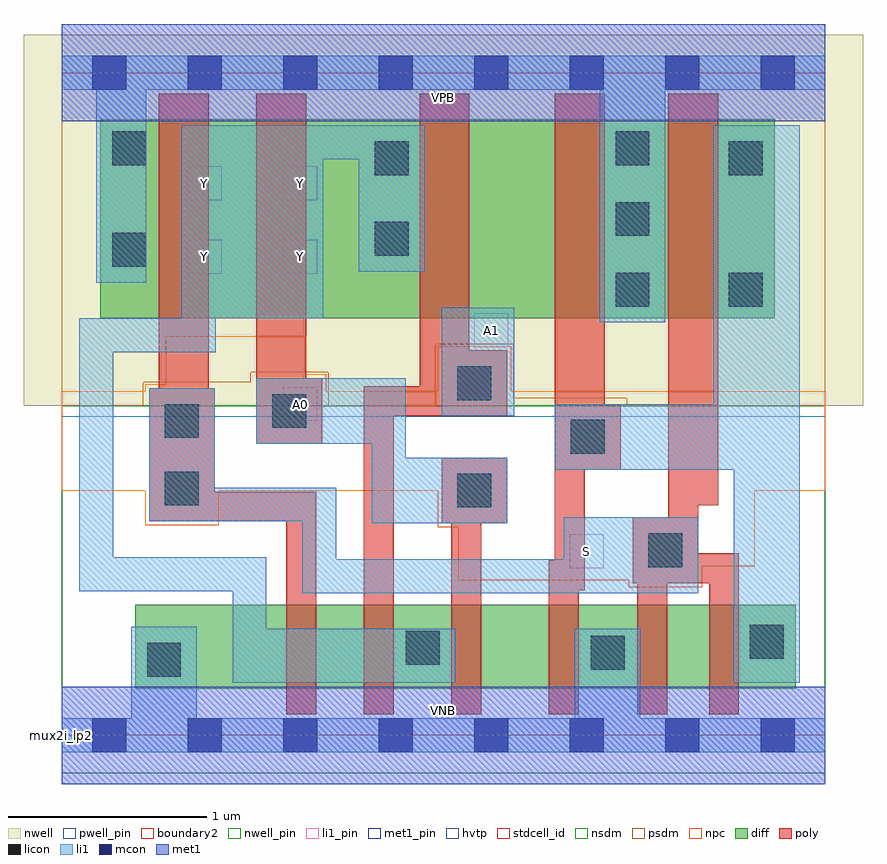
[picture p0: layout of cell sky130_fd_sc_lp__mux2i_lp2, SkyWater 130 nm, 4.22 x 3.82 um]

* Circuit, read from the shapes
.subckt sky130_fd_sc_lp__mux2i_lp2 A0 A1 S VGND VNB VPB VPWR Y
XM1 n1 S VGND VNB sky130_fd_pr__nfet_01v8 w=0.42 l=0.15
XM2 Y A1 n1 VNB sky130_fd_pr__nfet_01v8 w=0.42 l=0.15
XM3 n2 A0 Y VNB sky130_fd_pr__nfet_01v8 w=0.42 l=0.15
XM4 VGND n3 n2 VNB sky130_fd_pr__nfet_01v8 w=0.42 l=0.15
XM5 n4 S VGND VNB sky130_fd_pr__nfet_01v8 w=0.42 l=0.15
XM6 n3 S n4 VNB sky130_fd_pr__nfet_01v8 w=0.42 l=0.15
XM7 n5 S VPWR VPB sky130_fd_pr__pfet_01v8_hvt w=1 l=0.25
XM8 Y A0 n5 VPB sky130_fd_pr__pfet_01v8_hvt w=1 l=0.25
XM9 n6 A1 Y VPB sky130_fd_pr__pfet_01v8_hvt w=1 l=0.25
XM10 VPWR n3 n6 VPB sky130_fd_pr__pfet_01v8_hvt w=1 l=0.25
XM11 n3 S VPWR VPB sky130_fd_pr__pfet_01v8_hvt w=1 l=0.25
.ends

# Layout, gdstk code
import gdstk
lib = gdstk.Library(unit=1e-6, precision=1e-09)
def R(c, l, rs):  # rectangles x0, y0, x1, y1
    for r in rs: c.add(gdstk.rectangle(r[:2], r[2:], *l))
def A(c, l, x, y, w, h, nx, ny, dx, dy):  # array of equal rectangles
    R(c, l, [(x+i*dx, y+j*dy, x+i*dx+w, y+j*dy+h) for i in range(nx) for j in range(ny)])
def P(c, l, *ps):  # polygons
    for p in ps: c.add(gdstk.Polygon(p, *l))
nwell_pin = (64, 16)
nwell = (64, 20)
diff = (65, 20)
poly = (66, 20)
licon = (66, 44)
li1_pin = (67, 16)
li1 = (67, 20)
mcon = (67, 44)
met1_pin = (68, 16)
met1 = (68, 20)
hvtp = (78, 44)
stdcell_id = (81, 4)
nsdm = (93, 44)
psdm = (94, 20)
npc = (95, 20)
pwell_pin = (122, 16)
boundary2 = (236, 0)

sky130_fd_sc_lp__mux2i_l = lib.new_cell('sky130_fd_sc_lp__mux2i_lp2')
R(sky130_fd_sc_lp__mux2i_l, nwell_pin, [(0,3.085,3.84,3.33)])
R(sky130_fd_sc_lp__mux2i_l, nwell, [(-0.19,1.655,4.03,3.52)])
R(sky130_fd_sc_lp__mux2i_l, diff, [(0.37,0.235,3.69,0.655), (0.195,2.095,3.585,3.095)])
P(sky130_fd_sc_lp__mux2i_l, poly, [(1.28,1.225),(0.77,1.225),(0.77,1.745),(0.74,1.745),(0.74,3.225),(0.49,3.225),(0.49,1.745),(0.44,1.745),(0.44,1.075),(1.13,1.075),(1.13,0.105),(1.28,0.105)],
  [(1.31,1.795),(1.23,1.795),(1.23,3.225),(0.98,3.225),(0.98,1.465),(1.31,1.465)],
  [(2.24,1.935),(2.05,1.935),(2.05,3.225),(1.8,3.225),(1.8,1.755),(1.52,1.755),(1.52,0.105),(1.67,0.105),(1.67,1.605),(2.24,1.605)],
  [(2.24,1.395),(1.91,1.395),(1.91,1.065),(1.96,1.065),(1.96,0.105),(2.11,0.105),(2.11,1.065),(2.24,1.065)],
  [(2.81,1.665),(2.73,1.665),(2.73,3.225),(2.48,3.225),(2.48,0.88),(2.45,0.88),(2.45,0.105),(2.6,0.105),(2.6,0.73),(2.63,0.73),(2.63,1.335),(2.81,1.335)],
  [(3.405,0.915),(3.2,0.915),(3.2,1.155),(3.3,1.155),(3.3,3.225),(3.05,3.225),(3.05,1.095),(2.87,1.095),(2.87,0.765),(2.895,0.765),(2.895,0.105),(3.045,0.105),(3.045,0.765),(3.255,0.765),(3.255,0.105),(3.405,0.105)])
A(sky130_fd_sc_lp__mux2i_l, licon, 2.785, 2.155, 0.17, 0.17, 1, 3, 0, 0.355)
R(sky130_fd_sc_lp__mux2i_l, licon, [(0.43,0.295,0.6,0.465), (2.66,0.33,2.83,0.5), (1.73,0.355,1.9,0.525), (3.46,0.385,3.63,0.555), (2.95,0.845,3.12,1.015), (1.99,1.145,2.16,1.315), (0.52,1.155,0.69,1.325), (2.56,1.415,2.73,1.585), (0.52,1.495,0.69,1.665), (1.06,1.545,1.23,1.715), (1.99,1.685,2.16,1.855), (3.355,2.155,3.525,2.325), (0.255,2.355,0.425,2.525), (1.575,2.41,1.745,2.58), (1.575,2.815,1.745,2.985), (3.355,2.815,3.525,2.985), (0.255,2.865,0.425,3.035)])
R(sky130_fd_sc_lp__mux2i_l, li1_pin, [(2.555,0.84,2.725,1.01), (1.115,1.58,1.285,1.75), (2.075,1.95,2.245,2.12), (0.635,2.32,0.805,2.49), (1.115,2.32,1.285,2.49), (0.635,2.69,0.805,2.86), (1.115,2.69,1.285,2.86)])
R(sky130_fd_sc_lp__mux2i_l, li1, [(1.91,1.605,2.275,2.15)])
P(sky130_fd_sc_lp__mux2i_l, li1, [(0.175,2.275),(0.175,3.245),(0,3.245),(0,3.415),(3.84,3.415),(3.84,3.245),(3.035,3.245),(3.035,2.075),(2.705,2.075),(2.705,3.245),(0.425,3.245),(0.425,2.275)],
  [(0.35,0.085),(0.35,0.545),(0.68,0.545),(0.68,0.085),(2.58,0.085),(2.58,0.535),(2.91,0.535),(2.91,0.085),(3.84,0.085),(3.84,-0.085),(0,-0.085),(0,0.085)],
  [(1.38,0.885),(2.525,0.885),(2.525,1.095),(3.2,1.095),(3.2,0.715),(1.21,0.715),(1.21,1.075),(0.44,1.075),(0.44,1.745),(0.77,1.745),(0.77,1.245),(1.38,1.245)],
  [(0.98,1.465),(0.98,1.795),(1.73,1.795),(1.73,1.395),(2.24,1.395),(2.24,1.065),(1.56,1.065),(1.56,1.465)],
  [(1.825,3.065),(1.825,2.33),(1.495,2.33),(1.495,2.895),(1.315,2.895),(1.315,2.095),(0.775,2.095),(0.775,1.925),(0.26,1.925),(0.26,0.895),(1.03,0.895),(1.03,0.535),(1.98,0.535),(1.98,0.265),(0.86,0.265),(0.86,0.725),(0.09,0.725),(0.09,2.095),(0.605,2.095),(0.605,3.065)],
  [(3.71,0.265),(3.38,0.265),(3.38,1.335),(2.48,1.335),(2.48,1.665),(3.275,1.665),(3.275,3.065),(3.71,3.065)])
A(sky130_fd_sc_lp__mux2i_l, mcon, 0.155, -0.085, 0.17, 0.17, 8, 2, 0.48, 3.33)
R(sky130_fd_sc_lp__mux2i_l, met1_pin, [(0,0,3.84,0.245), (0,3.085,3.84,3.33)])
R(sky130_fd_sc_lp__mux2i_l, met1, [(0,-0.245,3.84,0.245), (0,3.085,3.84,3.575)])
R(sky130_fd_sc_lp__mux2i_l, hvtp, [(0,1.6,3.84,3.33)])
R(sky130_fd_sc_lp__mux2i_l, stdcell_id, [(0,0,3.84,3.33)])
R(sky130_fd_sc_lp__mux2i_l, nsdm, [(0,-0.19,3.84,1.655)])
P(sky130_fd_sc_lp__mux2i_l, psdm, [(3.84,3.52),(0,3.52),(0,1.655),(0.41,1.655),(0.41,1.775),(0.95,1.775),(0.95,1.825),(1.34,1.825),(1.34,1.655),(1.88,1.655),(1.88,1.965),(2.27,1.965),(2.27,1.695),(2.84,1.695),(2.84,1.655),(3.84,1.655)])
P(sky130_fd_sc_lp__mux2i_l, npc, [(3.84,1.73),(2.26,1.73),(2.26,1.955),(1.89,1.955),(1.89,1.73),(1.33,1.73),(1.33,1.815),(1.225,1.815),(1.225,2.005),(0.525,2.005),(0.525,1.765),(0.42,1.765),(0.42,1.73),(0,1.73),(0,1.23),(0.42,1.23),(0.42,1.055),(0.79,1.055),(0.79,1.23),(1.89,1.23),(1.89,1.045),(1.995,1.045),(1.995,0.78),(2.85,0.78),(2.85,0.745),(3.22,0.745),(3.22,0.85),(3.485,0.85),(3.485,1.23),(3.84,1.23)])
R(sky130_fd_sc_lp__mux2i_l, pwell_pin, [(0,0,3.84,0.245)])
R(sky130_fd_sc_lp__mux2i_l, boundary2, [(0,0,3.84,3.33)])
sky130_fd_sc_lp__mux2i_l.add(gdstk.Label('VNB', (1.92,0.123), layer=64, texttype=59))
sky130_fd_sc_lp__mux2i_l.add(gdstk.Label('VPB', (1.92,3.208), layer=64, texttype=5))
sky130_fd_sc_lp__mux2i_l.add(gdstk.Label('mux2i_lp2', (0,0), layer=83, texttype=44))
sky130_fd_sc_lp__mux2i_l.add(gdstk.Label('VPWR', (1.92,3.208), layer=68, texttype=5))
sky130_fd_sc_lp__mux2i_l.add(gdstk.Label('VGND', (1.92,0.123), layer=68, texttype=5))
sky130_fd_sc_lp__mux2i_l.add(gdstk.Label('S', (2.64,0.925), layer=67, texttype=5))
sky130_fd_sc_lp__mux2i_l.add(gdstk.Label('A1', (2.16,2.035), layer=67, texttype=5))
sky130_fd_sc_lp__mux2i_l.add(gdstk.Label('A0', (1.2,1.665), layer=67, texttype=5))
sky130_fd_sc_lp__mux2i_l.add(gdstk.Label('Y', (0.72,2.405), layer=67, texttype=5))
sky130_fd_sc_lp__mux2i_l.add(gdstk.Label('Y', (0.72,2.775), layer=67, texttype=5))
sky130_fd_sc_lp__mux2i_l.add(gdstk.Label('Y', (1.2,2.405), layer=67, texttype=5))
sky130_fd_sc_lp__mux2i_l.add(gdstk.Label('Y', (1.2,2.775), layer=67, texttype=5))

lib.write_gds('sky130_fd_sc_lp__mux2i_lp2.gds')
